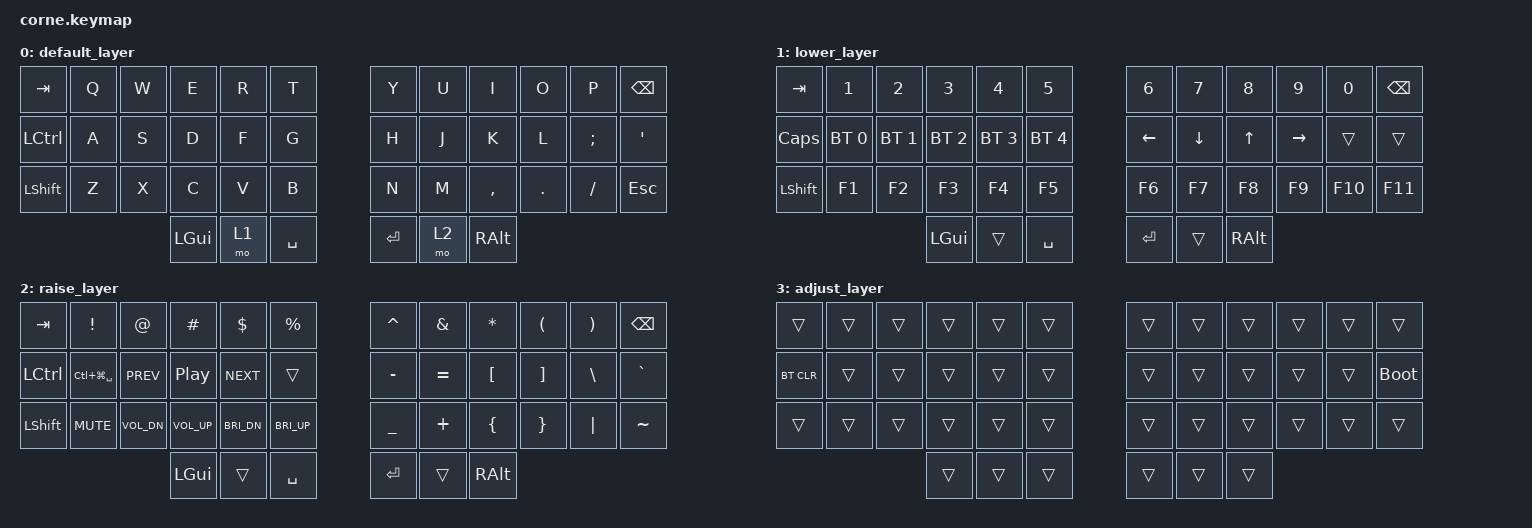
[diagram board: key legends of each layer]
/*
 * Copyright (c) 2020 The ZMK Contributors
 *
 * SPDX-License-Identifier: MIT
 */

#include <behaviors.dtsi>
#include <dt-bindings/zmk/keys.h>
#include <dt-bindings/zmk/bt.h>

/ {
        conditional_layers {
                compatible = "zmk,conditional-layers";
                tri_layer {
                        if-layers = <1 2>;
                        then-layer = <3>;
                };
        };

        keymap {
                compatible = "zmk,keymap";

                default_layer {
// -----------------------------------------------------------------------------------------
// |  TAB |  Q  |  W  |  E  |  R  |  T  |   |  Y  |  U   |  I  |  O  |  P  | BSPC |
// | CTRL |  A  |  S  |  D  |  F  |  G  |   |  H  |  J   |  K  |  L  |  ;  |  '   |
// | SHFT |  Z  |  X  |  C  |  V  |  B  |   |  N  |  M   |  ,  |  .  |  /  | ESC  |
//                    | GUI | LWR | SPC |   | ENT | RSE  | ALT |
                        bindings = <
   &kp TAB   &kp Q &kp W &kp E &kp R &kp T   &kp Y &kp U  &kp I     &kp O   &kp P    &kp BSPC
   &kp LCTRL &kp A &kp S &kp D &kp F &kp G   &kp H &kp J  &kp K     &kp L   &kp SEMI &kp SQT
   &kp LSHFT &kp Z &kp X &kp C &kp V &kp B   &kp N &kp M  &kp COMMA &kp DOT &kp FSLH &kp ESC
                  &kp LGUI &mo 1 &kp SPACE   &kp RET &mo 2 &kp RALT
                        >;
                };
                lower_layer {
// -----------------------------------------------------------------------------------------
// |  TAB |  1  |  2  |  3  |  4  |  5  |   |  6  |  7  |  8  |  9  |  0  | BSPC |
// |CAPS  | BT1 | BT2 | BT3 | BT4 | BT5 |   | LFT | DWN |  UP | RGT |     |      |
// | SHFT |  F1 |  F2 |  F3 |  F4 |  F5 |   |  F6 |  F7 |  F8 |  F9 | F10 | F11  |
//                    | GUI |     | SPC |   | ENT |     | ALT |
                        bindings = <
   &kp TAB   &kp N1       &kp N2       &kp N3       &kp N4       &kp N5         &kp N6   &kp N7   &kp N8 &kp N9    &kp N0 &kp BSPC
   &kp CAPS  &bt BT_SEL 0 &bt BT_SEL 1 &bt BT_SEL 2 &bt BT_SEL 3 &bt BT_SEL 4   &kp LEFT &kp DOWN &kp UP &kp RIGHT &trans &trans
   &kp LSHFT &kp F1       &kp F2       &kp F3       &kp F4       &kp F5         &kp F6   &kp F7   &kp F8 &kp F9    &kp F10 &kp F11
                                    &kp LGUI     &trans       &kp SPACE      &kp RET  &trans   &kp RALT
                        >;
                };

                raise_layer {
// -----------------------------------------------------------------------------------------
// |  TAB |  !  |  @  |  #  |  $  |  %  |   |  ^  |  &  |  *  |  (  |  )  | BSPC |
// | CTRL | FN* |PREV | PP  |NEXT |     |   |  -  |  =  |  [  |  ]  |  \  |  `   |
// | SHFT |MUTE |VOL- |VOL+ |BRI- |BRI+ |   |  _  |  +  |  {  |  }  | "|" |  ~   |
//                    | GUI |     | SPC |   | ENT |     | ALT |
                        bindings = <
   &kp  TAB  &kp EXCL &kp AT &kp HASH &kp DLLR &kp PRCNT   &kp CARET &kp AMPS  &kp ASTRK &kp LPAR &kp RPAR &kp BSPC
   &kp LCTRL &kp LC(LG(SPACE)) &kp C_PREV &kp C_PP &kp C_NEXT &trans      &kp MINUS &kp EQUAL &kp LBKT  &kp RBKT &kp BSLH &kp GRAVE
   &kp LSHFT &kp C_MUTE &kp C_VOL_DN &kp C_VOL_UP &kp C_BRI_DN &kp C_BRI_UP &kp UNDER &kp PLUS  &kp LBRC  &kp RBRC &kp PIPE &kp TILDE
                             &kp LGUI &trans   &kp SPACE   &kp RET   &trans    &kp RALT
                        >;
                };

                adjust_layer {
// Only active while BOTH lower and raise are held (tri-layer) -- keeps
// destructive BT actions off a hair-trigger single-thumb combo.
// -----------------------------------------------------------------------------------------
// |      |     |     |     |     |     |   |     |     |     |     |     |      |
// |BTCLR |     |     |     |     |     |   |     |     |     |     |     |BOOTLD|
// |      |     |     |     |     |     |   |     |     |     |     |     |      |
//                    |     |     |     |   |     |     |     |
                        bindings = <
   &trans    &trans &trans &trans &trans &trans   &trans &trans &trans &trans &trans &trans
   &bt BT_CLR &trans &trans &trans &trans &trans   &trans &trans &trans &trans &trans &bootloader
   &trans    &trans &trans &trans &trans &trans   &trans &trans &trans &trans &trans &trans
                             &trans &trans &trans   &trans &trans &trans
                        >;
                };
        };
};
